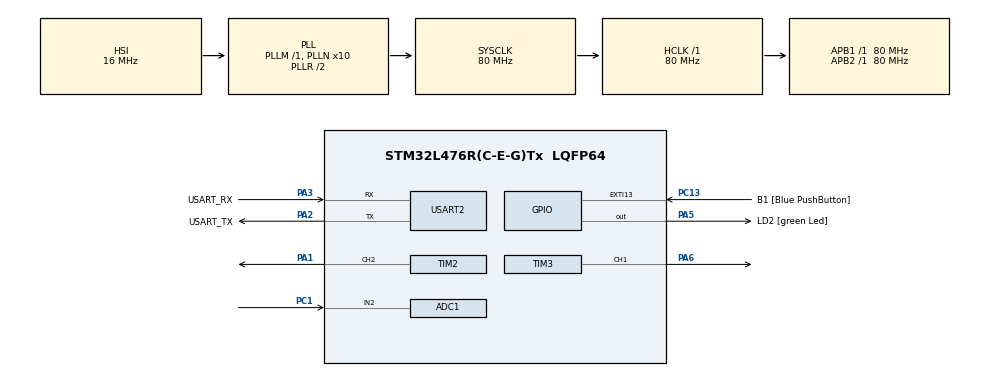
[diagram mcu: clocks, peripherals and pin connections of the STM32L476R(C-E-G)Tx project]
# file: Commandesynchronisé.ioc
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ADC1.Channel-0\#ChannelRegularConversion=ADC_CHANNEL_2
ADC1.ExternalTrigConv=ADC_EXTERNALTRIG_T3_TRGO
ADC1.NbrOfConversionFlag=1
ADC1.OffsetNumber-0\#ChannelRegularConversion=ADC_OFFSET_NONE
ADC1.Rank-0\#ChannelRegularConversion=1
ADC1.SamplingTime-0\#ChannelRegularConversion=ADC_SAMPLETIME_2CYCLES_5
ADC1.master=1
Mcu.Family=STM32L4
Mcu.Name=STM32L476R(C-E-G)Tx
Mcu.Package=LQFP64
NVIC.ADC1_2_IRQn=true\:0\:0\:false\:false\:true\:true\:true\:true
NVIC.PriorityGroup=NVIC_PRIORITYGROUP_4
NVIC.TIM3_IRQn=true\:0\:0\:false\:false\:true\:true\:true\:true
PA1.Signal=S_TIM2_CH2
PA13\ (JTMS-SWDIO).GPIO_Label=TMS
PA13\ (JTMS-SWDIO).Mode=Serial_Wire
PA13\ (JTMS-SWDIO).Signal=SYS_JTMS-SWDIO
PA14\ (JTCK-SWCLK).GPIO_Label=TCK
PA14\ (JTCK-SWCLK).Mode=Serial_Wire
PA14\ (JTCK-SWCLK).Signal=SYS_JTCK-SWCLK
PA2.GPIO_Label=USART_TX
PA2.GPIO_Mode=GPIO_MODE_AF_PP
PA2.GPIO_PuPd=GPIO_NOPULL
PA2.GPIO_Speed=GPIO_SPEED_FREQ_VERY_HIGH
PA2.Mode=Asynchronous
PA2.Signal=USART2_TX
PA3.GPIO_Label=USART_RX
PA3.GPIO_Mode=GPIO_MODE_AF_PP
PA3.GPIO_PuPd=GPIO_NOPULL
PA3.GPIO_Speed=GPIO_SPEED_FREQ_VERY_HIGH
PA3.Mode=Asynchronous
PA3.Signal=USART2_RX
PA5.GPIO_Label=LD2 [green Led]
PA5.GPIO_ModeDefaultOutputPP=GPIO_MODE_OUTPUT_PP
PA5.GPIO_PuPd=GPIO_NOPULL
PA5.GPIO_Speed=GPIO_SPEED_FREQ_LOW
PA5.Signal=GPIO_Output
PA6.Signal=S_TIM3_CH1
PB3\ (JTDO-TRACESWO).GPIO_Label=SWO
PB3\ (JTDO-TRACESWO).Signal=SYS_JTDO-SWO
PC1.Signal=ADCx_IN2
PC13.GPIO_Label=B1 [Blue PushButton]
PC13.GPIO_ModeDefaultEXTI=GPIO_MODE_IT_FALLING
PC13.GPIO_PuPd=GPIO_NOPULL
PC13.Signal=GPXTI13
PC14-OSC32_IN\ (PC14).Mode=LSE-External-Oscillator
PC14-OSC32_IN\ (PC14).Signal=RCC_OSC32_IN
PC15-OSC32_OUT\ (PC15).Mode=LSE-External-Oscillator
PC15-OSC32_OUT\ (PC15).Signal=RCC_OSC32_OUT
PH0-OSC_IN\ (PH0).Signal=RCC_OSC_IN
PH1-OSC_OUT\ (PH1).Signal=RCC_OSC_OUT
ProjectManager.HeapSize=0x200
ProjectManager.StackSize=0x400
ProjectManager.TargetToolchain=STM32CubeIDE
RCC.ADCFreq_Value=64000000
RCC.AHBFreq_Value=80000000
RCC.APB1Freq_Value=80000000
RCC.APB1TimFreq_Value=80000000
RCC.APB2Freq_Value=80000000
RCC.APB2TimFreq_Value=80000000
RCC.CortexFreq_Value=80000000
RCC.HCLKFreq_Value=80000000
RCC.HSE_VALUE=8000000
RCC.HSI_VALUE=16000000
RCC.MSI_VALUE=4000000
RCC.PLLN=10
RCC.PLLSourceVirtual=RCC_PLLSOURCE_HSI
RCC.PREFETCH_ENABLE=1
RCC.SYSCLKFreq_VALUE=80000000
RCC.SYSCLKSource=RCC_SYSCLKSOURCE_PLLCLK
RCC.USBFreq_Value=64000000
RCC.VCOOutputFreq_Value=160000000
SH.ADCx_IN2.0=ADC1_IN2,IN2-Single-Ended
SH.S_TIM2_CH2.0=TIM2_CH2,PWM Generation2 CH2
SH.S_TIM3_CH1.0=TIM3_CH1,Output Compare1 CH1
TIM2.Channel-PWM\ Generation2\ CH2=TIM_CHANNEL_2
TIM2.Period=399
TIM3.Channel-Output\ Compare1\ CH1=TIM_CHANNEL_1
TIM3.OCMode_1=TIM_OCMODE_TOGGLE
TIM3.Period=399
TIM3.TIM_MasterOutputTrigger=TIM_TRGO_OC1REF
TIM3.TIM_MasterSlaveMode=TIM_MASTERSLAVEMODE_ENABLE
USART2.VirtualMode-Asynchronous=VM_ASYNC
VP_TIM2_VS_ClockSourceINT.Mode=Internal
VP_TIM3_VS_ClockSourceINT.Mode=Internal
board=NUCLEO-L476RG

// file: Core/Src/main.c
/* USER CODE BEGIN Header */
/**
  ******************************************************************************
  * @file           : main.c
  * @brief          : Main program body
  ******************************************************************************
  * @attention
  *
  * Copyright (c) 2025 STMicroelectronics.
  * All rights reserved.
  *
  * This software is licensed under terms that can be found in the LICENSE file
  * in the root directory of this software component.
  * If no LICENSE file comes with this software, it is provided AS-IS.
  *
  ******************************************************************************
  */
/* USER CODE END Header */
#include "main.h"

/* USER CODE BEGIN PTD */
float lastAdcValue;
char msg[50];
/* USER CODE END PTD */

ADC_HandleTypeDef hadc1;

TIM_HandleTypeDef htim2;
TIM_HandleTypeDef htim3;

UART_HandleTypeDef huart2;

void SystemClock_Config(void);
static void MX_GPIO_Init(void);
static void MX_USART2_UART_Init(void);
static void MX_ADC1_Init(void);
static void MX_TIM3_Init(void);
static void MX_TIM2_Init(void);

/* USER CODE BEGIN 0 */
void HAL_TIM_OC_DelayElapsedCallback(TIM_HandleTypeDef* htim)
{
    if (htim->Instance == TIM3 && htim->Channel == HAL_TIM_ACTIVE_CHANNEL_1)
    {
        static uint8_t high = 1;
        if(high){
            HAL_ADC_Start(&hadc1);
           // if (HAL_ADC_PollForConversion(&hadc1, HAL_MAX_DELAY) == HAL_OK)
            lastAdcValue = HAL_ADC_GetValue(&hadc1);
            HAL_ADC_Stop(&hadc1);
            sprintf(msg, "ADC= %.2f\r\n", lastAdcValue);
            HAL_UART_Transmit(&huart2, (uint8_t*)msg, strlen(msg), HAL_MAX_DELAY);
        }
        else {
        	float pwmduty=(lastAdcValue * htim2.Init.Period) / 4095;
            __HAL_TIM_SET_COMPARE(&htim2, TIM_CHANNEL_2,pwmduty);
        	sprintf(msg,"pwm= %.2f\r\n",pwmduty);
        	HAL_UART_Transmit(&huart2, (uint8_t *)msg,  strlen(msg), HAL_MAX_DELAY);
        }
        high ^= 1;
    }
}

//void HAL_ADC_ConvCpltCallback(ADC_HandleTypeDef* hadc)
//{
//    if (hadc->Instance == ADC1){
//        lastAdcValue = HAL_ADC_GetValue(hadc);
//    	sprintf(msg,"ADC= %.2f\r\n",lastAdcValue );
//    	HAL_UART_Transmit(&huart2, (uint8_t *)msg, strlen(msg), HAL_MAX_DELAY);
//    }
//}
/* USER CODE END 0 */

int main(void)
{

  /* MCU Configuration--------------------------------------------------------*/

  /* Reset of all peripherals, Initializes the Flash interface and the Systick. */
  HAL_Init();

  /* Configure the system clock */
  SystemClock_Config();

  /* USER CODE BEGIN SysInit */
  void TIM3_IRQHandler(void) { HAL_TIM_IRQHandler(&htim3); }

  /* USER CODE END SysInit */

  /* Initialize all configured peripherals */
  MX_GPIO_Init();
  MX_USART2_UART_Init();
  MX_ADC1_Init();
  MX_TIM3_Init();
  MX_TIM2_Init();
  /* USER CODE BEGIN 2 */
  // Génération du toggle sur TIM3 CH1
  HAL_TIM_OC_Start_IT(&htim3, TIM_CHANNEL_1);

  // Préparer ADC1 au trigger interne
  //HAL_ADC_Start_IT(&hadc1);
  //HAL_ADC_Start(&hadc1);
  HAL_TIM_PWM_Start(&htim2, TIM_CHANNEL_2);

  /* USER CODE END 2 */

  /* Infinite loop */
  while (1)
  {

  }
}

void SystemClock_Config(void)
{
  RCC_OscInitTypeDef RCC_OscInitStruct = {0};
  RCC_ClkInitTypeDef RCC_ClkInitStruct = {0};

  /** Configure the main internal regulator output voltage
  */
  if (HAL_PWREx_ControlVoltageScaling(PWR_REGULATOR_VOLTAGE_SCALE1) != HAL_OK)
  {
    Error_Handler();
  }

  /** Initializes the RCC Oscillators according to the specified parameters
  * in the RCC_OscInitTypeDef structure.
  */
  RCC_OscInitStruct.OscillatorType = RCC_OSCILLATORTYPE_HSI;
  RCC_OscInitStruct.HSIState = RCC_HSI_ON;
  RCC_OscInitStruct.HSICalibrationValue = RCC_HSICALIBRATION_DEFAULT;
  RCC_OscInitStruct.PLL.PLLState = RCC_PLL_ON;
  RCC_OscInitStruct.PLL.PLLSource = RCC_PLLSOURCE_HSI;
  RCC_OscInitStruct.PLL.PLLM = 1;
  RCC_OscInitStruct.PLL.PLLN = 10;
  RCC_OscInitStruct.PLL.PLLP = RCC_PLLP_DIV7;
  RCC_OscInitStruct.PLL.PLLQ = RCC_PLLQ_DIV2;
  RCC_OscInitStruct.PLL.PLLR = RCC_PLLR_DIV2;
  if (HAL_RCC_OscConfig(&RCC_OscInitStruct) != HAL_OK)
  {
    Error_Handler();
  }

  /** Initializes the CPU, AHB and APB buses clocks
  */
  RCC_ClkInitStruct.ClockType = RCC_CLOCKTYPE_HCLK|RCC_CLOCKTYPE_SYSCLK
                              |RCC_CLOCKTYPE_PCLK1|RCC_CLOCKTYPE_PCLK2;
  RCC_ClkInitStruct.SYSCLKSource = RCC_SYSCLKSOURCE_PLLCLK;
  RCC_ClkInitStruct.AHBCLKDivider = RCC_SYSCLK_DIV1;
  RCC_ClkInitStruct.APB1CLKDivider = RCC_HCLK_DIV1;
  RCC_ClkInitStruct.APB2CLKDivider = RCC_HCLK_DIV1;

  if (HAL_RCC_ClockConfig(&RCC_ClkInitStruct, FLASH_LATENCY_4) != HAL_OK)
  {
    Error_Handler();
  }
}

static void MX_ADC1_Init(void)
{

  ADC_MultiModeTypeDef multimode = {0};
  ADC_ChannelConfTypeDef sConfig = {0};

  /** Common config
  */
  hadc1.Instance = ADC1;
  hadc1.Init.ClockPrescaler = ADC_CLOCK_ASYNC_DIV1;
  hadc1.Init.Resolution = ADC_RESOLUTION_12B;
  hadc1.Init.DataAlign = ADC_DATAALIGN_RIGHT;
  hadc1.Init.ScanConvMode = ADC_SCAN_DISABLE;
  hadc1.Init.EOCSelection = ADC_EOC_SINGLE_CONV;
  hadc1.Init.LowPowerAutoWait = DISABLE;
  hadc1.Init.ContinuousConvMode = DISABLE;
  hadc1.Init.NbrOfConversion = 1;
  hadc1.Init.DiscontinuousConvMode = DISABLE;
  hadc1.Init.ExternalTrigConv = ADC_EXTERNALTRIG_T3_TRGO;
  hadc1.Init.ExternalTrigConvEdge = ADC_EXTERNALTRIGCONVEDGE_RISING;
  hadc1.Init.DMAContinuousRequests = DISABLE;
  hadc1.Init.Overrun = ADC_OVR_DATA_PRESERVED;
  hadc1.Init.OversamplingMode = DISABLE;
  if (HAL_ADC_Init(&hadc1) != HAL_OK)
  {
    Error_Handler();
  }

  /** Configure the ADC multi-mode
  */
  multimode.Mode = ADC_MODE_INDEPENDENT;
  if (HAL_ADCEx_MultiModeConfigChannel(&hadc1, &multimode) != HAL_OK)
  {
    Error_Handler();
  }

  /** Configure Regular Channel
  */
  sConfig.Channel = ADC_CHANNEL_2;
  sConfig.Rank = ADC_REGULAR_RANK_1;
  sConfig.SamplingTime = ADC_SAMPLETIME_2CYCLES_5;
  sConfig.SingleDiff = ADC_SINGLE_ENDED;
  sConfig.OffsetNumber = ADC_OFFSET_NONE;
  sConfig.Offset = 0;
  if (HAL_ADC_ConfigChannel(&hadc1, &sConfig) != HAL_OK)
  {
    Error_Handler();
  }

}

static void MX_TIM2_Init(void)
{

  TIM_ClockConfigTypeDef sClockSourceConfig = {0};
  TIM_MasterConfigTypeDef sMasterConfig = {0};
  TIM_OC_InitTypeDef sConfigOC = {0};

  htim2.Instance = TIM2;
  htim2.Init.Prescaler = 0;
  htim2.Init.CounterMode = TIM_COUNTERMODE_UP;
  htim2.Init.Period = 399;
  htim2.Init.ClockDivision = TIM_CLOCKDIVISION_DIV1;
  htim2.Init.AutoReloadPreload = TIM_AUTORELOAD_PRELOAD_DISABLE;
  if (HAL_TIM_Base_Init(&htim2) != HAL_OK)
  {
    Error_Handler();
  }
  sClockSourceConfig.ClockSource = TIM_CLOCKSOURCE_INTERNAL;
  if (HAL_TIM_ConfigClockSource(&htim2, &sClockSourceConfig) != HAL_OK)
  {
    Error_Handler();
  }
  if (HAL_TIM_PWM_Init(&htim2) != HAL_OK)
  {
    Error_Handler();
  }
  sMasterConfig.MasterOutputTrigger = TIM_TRGO_RESET;
  sMasterConfig.MasterSlaveMode = TIM_MASTERSLAVEMODE_DISABLE;
  if (HAL_TIMEx_MasterConfigSynchronization(&htim2, &sMasterConfig) != HAL_OK)
  {
    Error_Handler();
  }
  sConfigOC.OCMode = TIM_OCMODE_PWM1;
  sConfigOC.Pulse = 0;
  sConfigOC.OCPolarity = TIM_OCPOLARITY_HIGH;
  sConfigOC.OCFastMode = TIM_OCFAST_DISABLE;
  if (HAL_TIM_PWM_ConfigChannel(&htim2, &sConfigOC, TIM_CHANNEL_2) != HAL_OK)
  {
    Error_Handler();
  }
  HAL_TIM_MspPostInit(&htim2);

}

static void MX_TIM3_Init(void)
{

  TIM_ClockConfigTypeDef sClockSourceConfig = {0};
  TIM_MasterConfigTypeDef sMasterConfig = {0};
  TIM_OC_InitTypeDef sConfigOC = {0};

  htim3.Instance = TIM3;
  htim3.Init.Prescaler = 0;
  htim3.Init.CounterMode = TIM_COUNTERMODE_UP;
  htim3.Init.Period = 399;
  htim3.Init.ClockDivision = TIM_CLOCKDIVISION_DIV1;
  htim3.Init.AutoReloadPreload = TIM_AUTORELOAD_PRELOAD_DISABLE;
  if (HAL_TIM_Base_Init(&htim3) != HAL_OK)
  {
    Error_Handler();
  }
  sClockSourceConfig.ClockSource = TIM_CLOCKSOURCE_INTERNAL;
  if (HAL_TIM_ConfigClockSource(&htim3, &sClockSourceConfig) != HAL_OK)
  {
    Error_Handler();
  }
  if (HAL_TIM_OC_Init(&htim3) != HAL_OK)
  {
    Error_Handler();
  }
  sMasterConfig.MasterOutputTrigger = TIM_TRGO_OC1REF;
  sMasterConfig.MasterSlaveMode = TIM_MASTERSLAVEMODE_ENABLE;
  if (HAL_TIMEx_MasterConfigSynchronization(&htim3, &sMasterConfig) != HAL_OK)
  {
    Error_Handler();
  }
  sConfigOC.OCMode = TIM_OCMODE_TOGGLE;
  sConfigOC.Pulse = 0;
  sConfigOC.OCPolarity = TIM_OCPOLARITY_HIGH;
  sConfigOC.OCFastMode = TIM_OCFAST_DISABLE;
  if (HAL_TIM_OC_ConfigChannel(&htim3, &sConfigOC, TIM_CHANNEL_1) != HAL_OK)
  {
    Error_Handler();
  }
  HAL_TIM_MspPostInit(&htim3);

}

static void MX_USART2_UART_Init(void)
{

  huart2.Instance = USART2;
  huart2.Init.BaudRate = 115200;
  huart2.Init.WordLength = UART_WORDLENGTH_8B;
  huart2.Init.StopBits = UART_STOPBITS_1;
  huart2.Init.Parity = UART_PARITY_NONE;
  huart2.Init.Mode = UART_MODE_TX_RX;
  huart2.Init.HwFlowCtl = UART_HWCONTROL_NONE;
  huart2.Init.OverSampling = UART_OVERSAMPLING_16;
  huart2.Init.OneBitSampling = UART_ONE_BIT_SAMPLE_DISABLE;
  huart2.AdvancedInit.AdvFeatureInit = UART_ADVFEATURE_NO_INIT;
  if (HAL_UART_Init(&huart2) != HAL_OK)
  {
    Error_Handler();
  }

}

static void MX_GPIO_Init(void)
{
  GPIO_InitTypeDef GPIO_InitStruct = {0};

  /* GPIO Ports Clock Enable */
  __HAL_RCC_GPIOC_CLK_ENABLE();
  __HAL_RCC_GPIOH_CLK_ENABLE();
  __HAL_RCC_GPIOA_CLK_ENABLE();
  __HAL_RCC_GPIOB_CLK_ENABLE();

  /*Configure GPIO pin Output Level */
  HAL_GPIO_WritePin(LD2_GPIO_Port, LD2_Pin, GPIO_PIN_RESET);

  /*Configure GPIO pin : B1_Pin */
  GPIO_InitStruct.Pin = B1_Pin;
  GPIO_InitStruct.Mode = GPIO_MODE_IT_FALLING;
  GPIO_InitStruct.Pull = GPIO_NOPULL;
  HAL_GPIO_Init(B1_GPIO_Port, &GPIO_InitStruct);

  /*Configure GPIO pin : LD2_Pin */
  GPIO_InitStruct.Pin = LD2_Pin;
  GPIO_InitStruct.Mode = GPIO_MODE_OUTPUT_PP;
  GPIO_InitStruct.Pull = GPIO_NOPULL;
  GPIO_InitStruct.Speed = GPIO_SPEED_FREQ_LOW;
  HAL_GPIO_Init(LD2_GPIO_Port, &GPIO_InitStruct);

}

void Error_Handler(void)
{
  __disable_irq();
  while (1)
  {
  }
}
